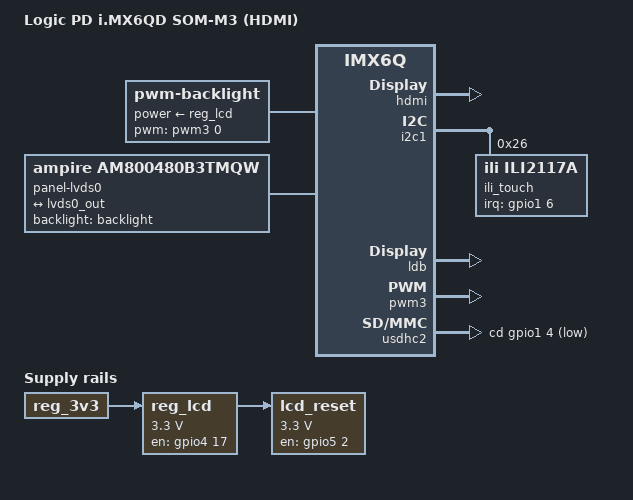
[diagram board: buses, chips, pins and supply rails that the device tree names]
/*
 * Copyright 2018 Logic PD, Inc.
 * Based on SabreSD, Copyright 2016 Freescale Semiconductor, Inc.
 *
 * This file is dual-licensed: you can use it either under the terms
 * of the GPL or the X11 license, at your option. Note that this dual
 * licensing only applies to this file, and not this project as a
 * whole.
 *
 *  a) This file is free software; you can redistribute it and/or
 *     modify it under the terms of the GNU General Public License as
 *     published by the Free Software Foundation; either version 2 of the
 *     License, or (at your option) any later version.
 *
 *     This file is distributed in the hope that it will be useful,
 *     but WITHOUT ANY WARRANTY; without even the implied warranty of
 *     MERCHANTABILITY or FITNESS FOR A PARTICULAR PURPOSE.  See the
 *     GNU General Public License for more details.
 *
 * Or, alternatively,
 *
 *  b) Permission is hereby granted, free of charge, to any person
 *     obtaining a copy of this software and associated documentation
 *     files (the "Software"), to deal in the Software without
 *     restriction, including without limitation the rights to use,
 *     copy, modify, merge, publish, distribute, sublicense, and/or
 *     sell copies of the Software, and to permit persons to whom the
 *     Software is furnished to do so, subject to the following
 *     conditions:
 *
 *     The above copyright notice and this permission notice shall be
 *     included in all copies or substantial portions of the Software.
 *
 *     THE SOFTWARE IS PROVIDED "AS IS", WITHOUT WARRANTY OF ANY KIND,
 *     EXPRESS OR IMPLIED, INCLUDING BUT NOT LIMITED TO THE WARRANTIES
 *     OF MERCHANTABILITY, FITNESS FOR A PARTICULAR PURPOSE AND
 *     NONINFRINGEMENT. IN NO EVENT SHALL THE AUTHORS OR COPYRIGHT
 *     HOLDERS BE LIABLE FOR ANY CLAIM, DAMAGES OR OTHER LIABILITY,
 *     WHETHER IN AN ACTION OF CONTRACT, TORT OR OTHERWISE, ARISING
 *     FROM, OUT OF OR IN CONNECTION WITH THE SOFTWARE OR THE USE OR
 *     OTHER DEALINGS IN THE SOFTWARE.
 */

/dts-v1/;
#include "imx6q.dtsi"
#include "imx6-logicpd-som.dtsi"
#include "imx6-logicpd-baseboard.dtsi"

/ {
	model = "Logic PD i.MX6QD SOM-M3 (HDMI)";
	compatible = "fsl,imx6q";

	backlight: backlight_lvds {
		compatible = "pwm-backlight";
		pwms = <&pwm3 0 20000>;
		brightness-levels = <0 4 8 16 32 64 128 255>;
		default-brightness-level = <6>;
		power-supply = <&reg_lcd>;
	};

	reg_lcd: regulator-lcd {
		pinctrl-names = "default";
		pinctrl-0 = <&pinctrl_lcd_reg>;
		compatible = "regulator-fixed";
		regulator-name = "lcd_panel_pwr";
		regulator-min-microvolt = <3300000>;
		regulator-max-microvolt = <3300000>;
		gpio = <&gpio4 17 GPIO_ACTIVE_HIGH>;
		enable-active-high;
		regulator-always-on;
		vin-supply = <&reg_3v3>;
		startup-delay-us = <500000>;
	};

	lcd_reset: lcd_reset {
		pinctrl-names = "default";
		pinctrl-0 = <&pinctrl_lcd_reset>;
		compatible = "regulator-fixed";
		regulator-name = "nLCD_RESET";
		regulator-min-microvolt = <3300000>;
		regulator-max-microvolt = <3300000>;
		gpio = <&gpio5 2 GPIO_ACTIVE_HIGH>;
		enable-active-high;
		regulator-always-on;
		vin-supply = <&reg_lcd>;
	};

	panel-lvds0 {
		compatible = "ampire,am800480b3tmqw";
		backlight = <&backlight>;

		port {
			panel_in_lvds0: endpoint {
				remote-endpoint = <&lvds0_out>;
			};
		};
	};
};

&hdmi {
	ddc-i2c-bus = <&i2c3>;
	status = "okay";
};

&i2c1 {
	ili_touch: ilitouch@26 {
		compatible = "ili,ili2117a";
		reg = <0x26>;
		pinctrl-names = "default";
		pinctrl-0 = <&pinctrl_touchscreen>;
		interrupts-extended = <&gpio1 6 IRQ_TYPE_EDGE_RISING>;
		ili2117a,poll-period = <10>;
		ili2117a,max-touch = <2>;
	};
};

&reg_hdmi {
	regulator-always-on;
};

&ldb {
	status = "okay";

	lvds-channel@0 {
		fsl,data-mapping = "spwg";
		fsl,data-width = <24>;
		status = "okay";

		port@4 {
			reg = <4>;

			lvds0_out: endpoint {
				remote-endpoint = <&panel_in_lvds0>;
			};
		};
	};

};

&clks {
	assigned-clocks = <&clks IMX6QDL_CLK_LDB_DI0_SEL>,
			  <&clks IMX6QDL_CLK_LDB_DI1_SEL>,
			  <&clks IMX6QDL_CLK_IPU1_DI0_PRE_SEL>,
			  <&clks IMX6QDL_CLK_IPU2_DI0_PRE_SEL>;
	assigned-clock-parents = <&clks IMX6QDL_CLK_PLL5_VIDEO_DIV>,
				 <&clks IMX6QDL_CLK_PLL5_VIDEO_DIV>,
				 <&clks IMX6QDL_CLK_PLL2_PFD2_396M>,
				 <&clks IMX6QDL_CLK_PLL2_PFD2_396M>;
};

&pwm3 {
	status = "okay";
};

&usdhc2 {
	cd-gpios = <&gpio1 4 GPIO_ACTIVE_LOW>;
};

&iomuxc {
	pinctrl_lcd_reg: lcdreg {
		fsl,pins = <
			MX6QDL_PAD_DI0_PIN15__GPIO4_IO17	0x100b0	/* R_LCD_PANEL_PWR */
		>;
	};

	pinctrl_lcd_reset: lcdreset {
		fsl,pins = <
			MX6QDL_PAD_EIM_A25__GPIO5_IO02      0x100b0	/* LCD_nRESET */
		>;
	};

	pinctrl_touchscreen: touchscreengrp {
		fsl,pins = <
			MX6QDL_PAD_GPIO_6__GPIO1_IO06	0x1b0b0	/* TOUCH_nPINTDAV */
		>;
	};
};

